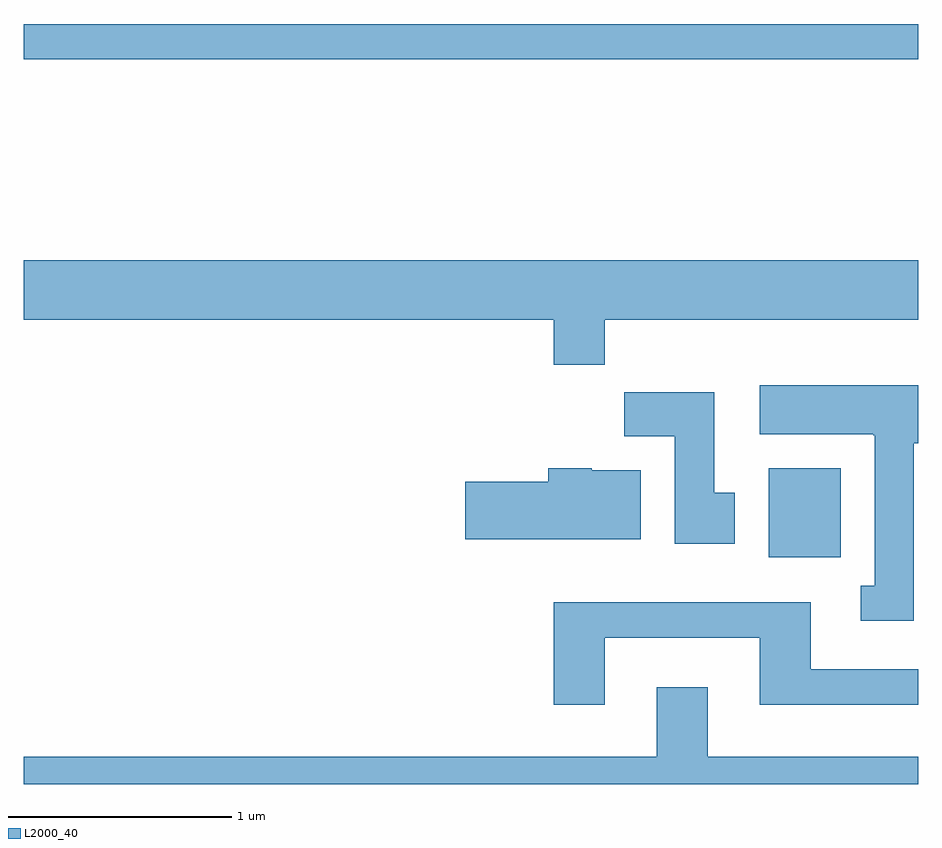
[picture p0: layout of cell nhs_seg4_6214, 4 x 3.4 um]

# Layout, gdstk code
import gdstk
lib = gdstk.Library(unit=1e-6, precision=1e-09)
def R(c, l, rs):  # rectangles x0, y0, x1, y1
    for r in rs: c.add(gdstk.rectangle(r[:2], r[2:], *l))
def P(c, l, *ps):  # polygons
    for p in ps: c.add(gdstk.Polygon(p, *l))
L2000_40 = (2000, 40)

nhs_seg4_6214 = lib.new_cell('nhs_seg4_6214')
R(nhs_seg4_6214, L2000_40, [(370.941,1306.996,371.264,1307.394), (367.611,1309.221,371.611,1309.379)])
P(nhs_seg4_6214, L2000_40, [(370.209,1308.056),(371.611,1308.056),(371.611,1308.324),(367.611,1308.324),(367.611,1308.056),(369.981,1308.056),(369.981,1307.856),(370.209,1307.856)],
  [(371.589,1307.506),(371.611,1307.506),(371.611,1307.764),(370.901,1307.764),(370.901,1307.546),(371.41,1307.546),(371.41,1307.54),(371.416,1307.54),(371.416,1306.869),(371.353,1306.869),(371.353,1306.711),(371.589,1306.711)],
  [(370.789,1307.284),(370.699,1307.284),(370.699,1307.734),(370.296,1307.734),(370.296,1307.536),(370.521,1307.536),(370.521,1307.056),(370.789,1307.056)],
  [(370.369,1307.384),(370.15,1307.384),(370.15,1307.394),(369.956,1307.394),(369.956,1307.334),(369.586,1307.334),(369.586,1307.076),(370.369,1307.076)],
  [(370.209,1306.636),(370.901,1306.636),(370.901,1306.336),(371.611,1306.336),(371.611,1306.494),(371.129,1306.494),(371.129,1306.794),(369.981,1306.794),(369.981,1306.336),(370.209,1306.336)],
  [(371.611,1306.104),(370.669,1306.104),(370.669,1306.414),(370.441,1306.414),(370.441,1306.104),(367.611,1306.104),(367.611,1305.982),(371.611,1305.982)])

lib.write_gds('nhs_seg4_6214.gds')
